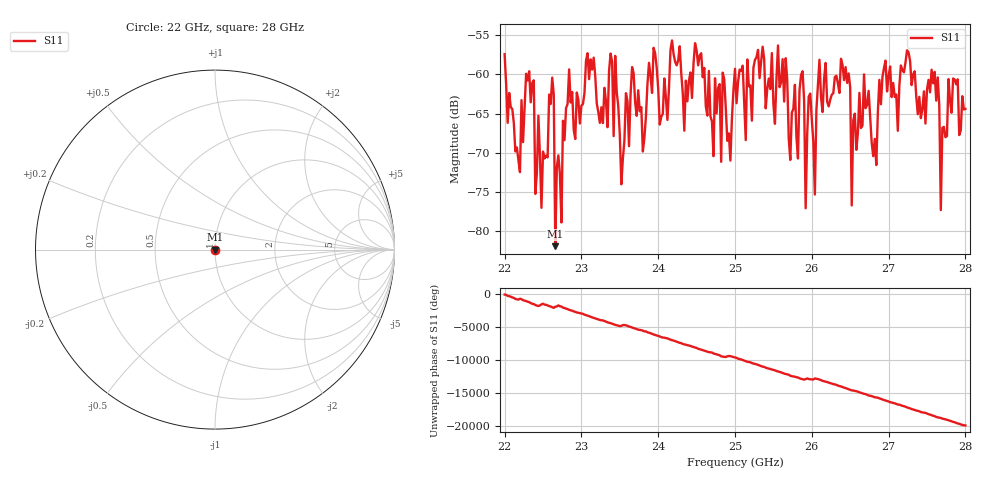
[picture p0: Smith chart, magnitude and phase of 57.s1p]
#  HZ  S  RI  R  50.00
! Rohde & Schwarz ZVA40 4Ports - Version 3.90 - 1145.1110k42 SN: 100403
! Date: 2023-10-04 06:35:48
! Measurement: S12
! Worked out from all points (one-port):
!   301 points, 22 GHz to 28 GHz, reference 50 ohm
!   lowest |S11| = -81.9 dB at 22.66 GHz (marker M1), VSWR 1.00, Z = 50 - j0.00708 ohm
!   |S11| at or under -10 dB: start of sweep to end of sweep
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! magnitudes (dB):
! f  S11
! 22 GHz  -57.4
! 22.2 GHz  -72.5
! 22.38 GHz  -60.7
! 22.4 GHz  -75.3
! 22.44 GHz  -65.3
! 22.48 GHz  -77.0
! 22.62 GHz  -60.4
! 22.66 GHz  -81.9
! 22.76 GHz  -65.9
! 23.5 GHz  -67.7
! 24.26 GHz  -58.2
! 24.82 GHz  -71.2
! 25 GHz  -59.3
! 25.76 GHz  -64.4
! 25.88 GHz  -59.6
! 25.92 GHz  -77.1
! 25.98 GHz  -62.4
! 26.04 GHz  -75.3
! 26.1 GHz  -58.1
! 26.5 GHz  -61.6
! 26.52 GHz  -76.7
! 26.68 GHz  -60.0
! 26.84 GHz  -71.6
! 27.26 GHz  -57.2
! 27.64 GHz  -60.4
! 27.68 GHz  -77.3
! 27.78 GHz  -60.6
! 28 GHz  -64.4
